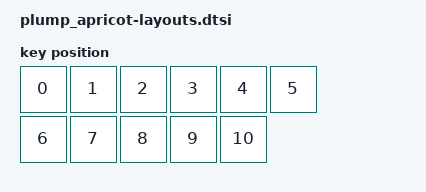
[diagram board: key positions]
#include <physical_layouts.dtsi>

/ {
    physical_layout_plump_apricot: physical_layout_plump_apricot {
        compatible = "zmk,physical-layout";
        display-name = "Plump Apricot";
        keys  //                     w   h    x    y     rot    rx    ry
            = <&key_physical_attrs 100 100  100  125       0   100   125>
            , <&key_physical_attrs 100 100  200  125       0   200   125>
            , <&key_physical_attrs 100 100  300  125       0   300   125>
            , <&key_physical_attrs 100 100  400  125       0   400   125>
            , <&key_physical_attrs 100 100  500  125       0   500   125>
            , <&key_physical_attrs 100 100  600  125       0   600   125>
            , <&key_physical_attrs 100 100  100  225       0   100   225>
            , <&key_physical_attrs 100 100  200  225       0   200   225>
            , <&key_physical_attrs 100 100  300  225       0   300   225>
            , <&key_physical_attrs 100 100  400  225       0   400   225>
            , <&key_physical_attrs 100 100  500  225       0   500   225>
            ;
    };
};
